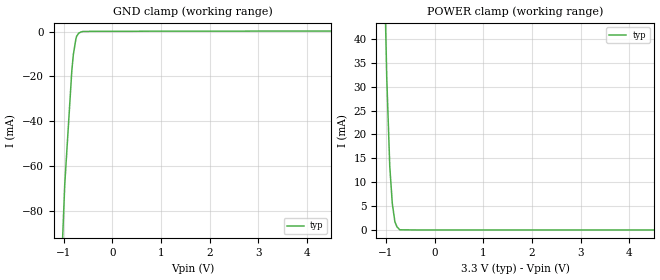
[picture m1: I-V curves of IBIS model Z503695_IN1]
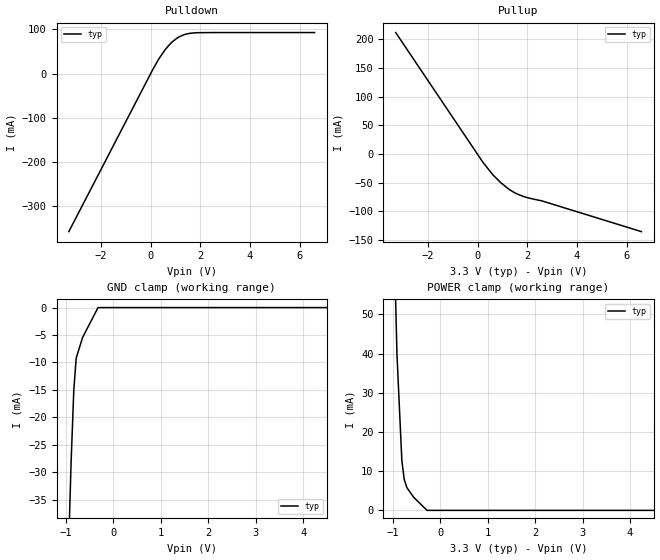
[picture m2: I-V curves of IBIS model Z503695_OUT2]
| YOU ARE ONLY AUTHORIZED TO USE THIS SOFTWARE
| ACCORDING TO LICENSOR'S LICENSE RESTRICTIONS.
[IBIS Ver] 3.1
[File Name] mc74ac00n_33.ibs
[File Rev] 2.0
[Source] Measured and created by ICX Technology
[Date] Friday 7/14/00 9:07:57 AM
[Copyright]
| (C) COPYRIGHT 1993-2000
| MENTOR GRAPHICS CORPORATION
| ICX STANDARD LIBRARY, ICX PROJECT MODELING,
| ICX CUSTOM MODELING, ICX VENDOR MODEL
| ALL RIGHTS RESERVED.
| THE FOLLOWING ARE TRADEMARKS OR SERVICE MARKS OF
| MENTOR GRAPHICS CORPORATION:ICX (R), ICX STANDARD
| LIBRARY(R), ICX PROJECT MODELING(R), ICX CUSTOM
| MODELING(R), qualityIBIS(TM), MODELVIEWER(TM),
| AND MODELEDITOR(TM)
| ALL COPIES OF SOFTWARE, INCLUDING BUT NOT LIMITED TO
| ANY MODIFICATIONS, ENHANCEMENTS OR DERIVATIVE WORKS,
| MUST CONTAIN ALL MENTOR GRAPHICS CORPORATION'S
| NOTICES AND LEGENDS, INCLUDING THOSE EMBEDDED IN
| SOFTWARE AND THOSE AFFIXED TO SOFTWARE MEDIUM
| AND CONTAINER, AS RECEIVED FROM MENTOR GRAPHICS
| CORPORATION.
|  ZAP Model Builder 2.7
[Component] MC74AC00N_33
[Manufacturer] OnSemiconductor
[Package]
| variable   typ   min   max
R_pkg  .21ohms NA NA
L_pkg  4.543nH NA NA
C_pkg  1.059pF NA NA
[Pin] signal_name  model_name  R_pin  L_pin C_pin
1 1A Z503695_IN1 .22 6.757n 1.432p
2 1B Z503695_IN1 .212 4.757n 1.142p
3 1Y Z503695_OUT2 .204 3.257n .852p
4 2A Z503695_IN1 .196 2.257n .562p
5 2B Z503695_IN1 .204 3.257n .852p
6 2Y Z503695_OUT2 .212 4.757n 1.142p
7 GND GND .22 6.757n 1.432p
8 3Y Z503695_OUT2 .22 6.757n 1.432p
9 3A Z503695_IN1 .212 4.757n 1.142p
10 3B Z503695_IN1 .204 3.257n .852p
11 4Y Z503695_OUT2 .196 2.257n .562p
12 4A Z503695_IN1 .204 3.257n .852p
13 4B Z503695_IN1 .212 4.757n 1.142p
14 VCC POWER .22 6.757n 1.432p
| Models and submodels in the file (2): Z503695_IN1 (Input), Z503695_OUT2 (Output)
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| (C) COPYRIGHT 1993-2000
| MENTOR GRAPHICS CORPORATION
| ICX STANDARD LIBRARY, ICX PROJECT MODELING,
| ICX CUSTOM MODELING, ICX VENDOR MODEL
| ALL RIGHTS RESERVED.
| THE FOLLOWING ARE TRADEMARKS OR SERVICE MARKS OF
| MENTOR GRAPHICS CORPORATION:ICX (R), ICX STANDARD
| LIBRARY(R), ICX PROJECT MODELING(R), ICX CUSTOM
| MODELING(R), qualityIBIS(TM), MODELVIEWER(TM),
| AND MODELEDITOR(TM)
| ALL COPIES OF SOFTWARE, INCLUDING BUT NOT LIMITED TO
| ANY MODIFICATIONS, ENHANCEMENTS OR DERIVATIVE WORKS,
| MUST CONTAIN ALL MENTOR GRAPHICS CORPORATION'S
| NOTICES AND LEGENDS, INCLUDING THOSE EMBEDDED IN
| SOFTWARE AND THOSE AFFIXED TO SOFTWARE MEDIUM
| AND CONTAINER, AS RECEIVED FROM MENTOR GRAPHICS
| CORPORATION.
| Model Application Version 1.89 2/18/99.
[Model] Z503695_IN1
Model_type Input
Vinl = 990.0mV
Vinh = 2.310V
C_comp 4.000pF NA NA
| variable typ   min   max
[Voltage Range] 3.300V NA NA
[GND Clamp Reference] 0.000V NA NA
[POWER Clamp Reference] 3.300V NA NA
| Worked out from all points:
|   GND clamp passes 1 mA (typ) near -0.70 V on its own axis
|   POWER clamp passes 1 mA (typ) near -0.79 V on its own axis
[GND Clamp]
-3.3V     -1.352A    NA         NA
-975.3mV  -68.19mA   NA         NA
-830.1mV  -17.39mA   NA         NA
-799mV    -10.24mA   NA         NA
-747.3mV  -3.298mA   NA         NA
-730.6mV  -1.971mA   NA         NA
-687.5mV  -638.1uA   NA         NA
-648.4mV  -176.1uA   NA         NA
-295.3mV  179.2uA    NA         NA
6.6V      285.4uA    NA         NA
[POWER Clamp]
-3.3V     1.847A     NA         NA
-1.134V   116mA      NA         NA
-1.025V   50.05mA    NA         NA
-986mV    32.02mA    NA         NA
-924mV    13.36mA    NA         NA
-872mV    5.56mA     NA         NA
-818mV    1.702mA    NA         NA
-776mV    656.7uA    NA         NA
-718mV    34.5uA     NA         NA
-359mV    0A         NA         NA
6.6V      0A         NA         NA
| (C) COPYRIGHT 1993-2000
| MENTOR GRAPHICS CORPORATION
| ICX STANDARD LIBRARY, ICX PROJECT MODELING,
| ICX CUSTOM MODELING, ICX VENDOR MODEL
| ALL RIGHTS RESERVED.
| THE FOLLOWING ARE TRADEMARKS OR SERVICE MARKS OF
| MENTOR GRAPHICS CORPORATION:ICX (R), ICX STANDARD
| LIBRARY(R), ICX PROJECT MODELING(R), ICX CUSTOM
| MODELING(R), qualityIBIS(TM), MODELVIEWER(TM),
| AND MODELEDITOR(TM)
| ALL COPIES OF SOFTWARE, INCLUDING BUT NOT LIMITED TO
| ANY MODIFICATIONS, ENHANCEMENTS OR DERIVATIVE WORKS,
| MUST CONTAIN ALL MENTOR GRAPHICS CORPORATION'S
| NOTICES AND LEGENDS, INCLUDING THOSE EMBEDDED IN
| SOFTWARE AND THOSE AFFIXED TO SOFTWARE MEDIUM
| AND CONTAINER, AS RECEIVED FROM MENTOR GRAPHICS
| CORPORATION.
| Model Application Version 1.89 2/18/99.
[Model] Z503695_OUT2
Model_type Output
Vref=0.000V
Rref=500.0ohms
Cref=50.00pF
Vmeas=1.650V
C_comp 8.000pF NA NA
| variable typ   min   max
[Voltage Range] 3.300V NA NA
[POWER Clamp Reference] 3.300V NA NA
[Pullup Reference] 3.300V NA NA
[Pulldown Reference] 0.000V NA NA
[GND Clamp Reference] 0.000V NA NA
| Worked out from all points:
|   slope of the pulldown table from 0 to 0.495 V, typ, clamps not added: 10.6 ohm
|   slope of the pullup table from 0 to 0.495 V, typ, clamps not added: 17 ohm
[GND Clamp]
-3.3V     -637.9mA   NA         NA
-1.113V   -93.61mA   NA         NA
-893.6mV  -28.41mA   NA         NA
-835.7mV  -15mA      NA         NA
-785.9mV  -9.22mA    NA         NA
-649.4mV  -5.421mA   NA         NA
-324.7mV  0A         NA         NA
6.6V      0A         NA         NA
[Pulldown]
-3.3V     -357.8mA   NA         NA
95.37mV   10.62mA    NA         NA
332.1mV   33.74mA    NA         NA
587.4mV   54.62mA    NA         NA
864.8mV   71.76mA    NA         NA
1.038V    79.41mA    NA         NA
1.27V     86.46mA    NA         NA
1.509V    90.44mA    NA         NA
1.844V    92.52mA    NA         NA
6.6V      92.92mA    NA         NA
[Pullup]
-3.3V     212mA      NA         NA
219mV     -15.01mA   NA         NA
615mV     -36.5mA    NA         NA
922mV     -49.86mA   NA         NA
1.27V     -62.07mA   NA         NA
1.484V    -67.66mA   NA         NA
1.619V    -70.49mA   NA         NA
1.834V    -74.17mA   NA         NA
1.991V    -76.29mA   NA         NA
2.207V    -78.58mA   NA         NA
2.587V    -82.04mA   NA         NA
6.6V      -135.8mA   NA         NA
[POWER Clamp]
-3.3V     1.476A     NA         NA
-1.064V   113.3mA    NA         NA
-914mV    39.79mA    NA         NA
-811mV    12.7mA     NA         NA
-761mV    7.879mA    NA         NA
-704mV    5.765mA    NA         NA
-559mV    3.308mA    NA         NA
-279.5mV  0A         NA         NA
6.6V      0A         NA         NA
[Ramp]
| variable typ min max
dV/dt_r 1.930/590.9p NA NA
dV/dt_f 1.930/620.9p NA NA
R_load = 500.0Ohms
